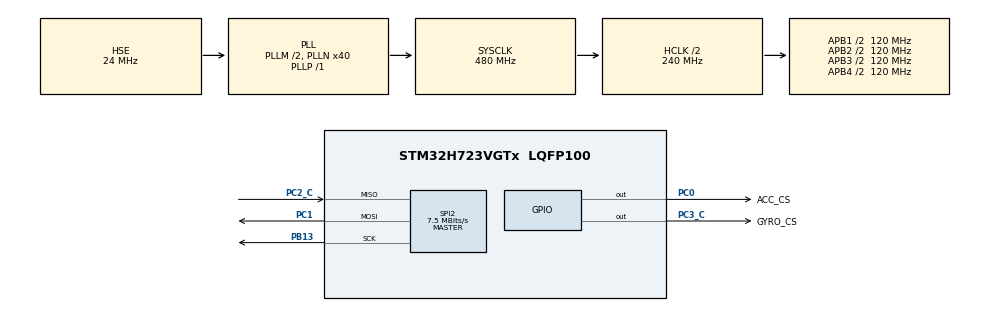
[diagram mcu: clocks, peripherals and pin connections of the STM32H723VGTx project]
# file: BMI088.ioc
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CORTEX_M7.default_mode_Activation=1
Mcu.Family=STM32H7
Mcu.Name=STM32H723VGTx
Mcu.Package=LQFP100
NVIC.PriorityGroup=NVIC_PRIORITYGROUP_4
PA13(JTMS/SWDIO).Mode=Serial_Wire
PA13(JTMS/SWDIO).Signal=DEBUG_JTMS-SWDIO
PA14(JTCK/SWCLK).Mode=Serial_Wire
PA14(JTCK/SWCLK).Signal=DEBUG_JTCK-SWCLK
PB13.Mode=Full_Duplex_Master
PB13.Signal=SPI2_SCK
PC0.GPIO_Label=ACC_CS
PC0.PinState=GPIO_PIN_SET
PC0.Signal=GPIO_Output
PC1.Mode=Full_Duplex_Master
PC1.Signal=SPI2_MOSI
PC2_C.Mode=Full_Duplex_Master
PC2_C.Signal=SPI2_MISO
PC3_C.GPIO_Label=GYRO_CS
PC3_C.Signal=GPIO_Output
PH0-OSC_IN.Mode=HSE-External-Oscillator
PH0-OSC_IN.Signal=RCC_OSC_IN
PH1-OSC_OUT.Mode=HSE-External-Oscillator
PH1-OSC_OUT.Signal=RCC_OSC_OUT
ProjectManager.HeapSize=0x200
ProjectManager.StackSize=0x400
ProjectManager.TargetToolchain=CMake
RCC.ADCFreq_Value=48375000
RCC.APB1Freq_Value=120000000
RCC.APB2Freq_Value=120000000
RCC.APB3Freq_Value=120000000
RCC.APB4Freq_Value=120000000
RCC.CortexFreq_Value=480000000
RCC.D1PPRE=RCC_APB3_DIV2
RCC.D2PPRE1=RCC_APB1_DIV2
RCC.D2PPRE2=RCC_APB2_DIV2
RCC.D3PPRE=RCC_APB4_DIV2
RCC.DIVM1=2
RCC.DIVN1=40
RCC.DIVP1=1
RCC.HCLKFreq_Value=240000000
RCC.HPRE=RCC_HCLK_DIV2
RCC.HSE_VALUE=24000000
RCC.PLLFRACN=0
RCC.PLLSourceVirtual=RCC_PLLSOURCE_HSE
RCC.SYSCLKFreq_VALUE=480000000
RCC.SYSCLKSource=RCC_SYSCLKSOURCE_PLLCLK
RCC.USBFreq_Value=240000000
SPI2.BaudRatePrescaler=SPI_BAUDRATEPRESCALER_32
SPI2.CLKPhase=SPI_PHASE_2EDGE
SPI2.CLKPolarity=SPI_POLARITY_HIGH
SPI2.CalculateBaudRate=7.5 MBits/s
SPI2.DataSize=SPI_DATASIZE_8BIT
SPI2.Direction=SPI_DIRECTION_2LINES
SPI2.Mode=SPI_MODE_MASTER
SPI2.VirtualType=VM_MASTER
VP_MEMORYMAP_VS_MEMORYMAP.Mode=CurAppReg
board=custom

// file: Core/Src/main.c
/* USER CODE BEGIN Header */
/**
  ******************************************************************************
  * @file           : main.c
  * @brief          : Main program body
  ******************************************************************************
  * @attention
  *
  * Copyright (c) 2025 STMicroelectronics.
  * All rights reserved.
  *
  * This software is licensed under terms that can be found in the LICENSE file
  * in the root directory of this software component.
  * If no LICENSE file comes with this software, it is provided AS-IS.
  *
  ******************************************************************************
  */
/* USER CODE END Header */
#include "main.h"
#include "memorymap.h"
#include "spi.h"
#include "gpio.h"

void SystemClock_Config(void);

static void MPU_Config(void);

/* USER CODE BEGIN 0 */
#define BMI088_ACCEL_6G_SEN 0.00179443359375f

float BMI088_ACCEL_SEN = BMI088_ACCEL_6G_SEN;

float accelerometer[3];

uint8_t i = 0;

uint8_t buf[6] = {0, 0, 0, 0, 0, 0};

uint8_t pTxData;

uint8_t pRxData;
/* USER CODE END 0 */

int main(void) {

    /* MPU Configuration--------------------------------------------------------*/
    MPU_Config();

    /* MCU Configuration--------------------------------------------------------*/

    /* Reset of all peripherals, Initializes the Flash interface and the Systick. */
    HAL_Init();

    /* Configure the system clock */
    SystemClock_Config();

    /* Initialize all configured peripherals */
    MX_GPIO_Init();
    MX_SPI2_Init();
    /* USER CODE BEGIN 2 */

    /** 向地址0x7E处写入0xB6值，加速度计软件复位，使加速度计各个寄存器恢复为默认值 **/
    // 1.ACC_CS引脚置低电平，片选加速度计
    HAL_GPIO_WritePin(ACC_CS_GPIO_Port, ACC_CS_Pin, GPIO_PIN_RESET);

    // 2.将加速度计0x7E寄存器配置为写操作（把0x7E最高位置0）
    pTxData = (0x7E & 0x7F);
    HAL_SPI_Transmit(&hspi2, &pTxData, 1, 1000);
    while (HAL_SPI_GetState(&hspi2) == HAL_SPI_STATE_BUSY_TX);// 等待SPI发送完成

    // 3.向加速度计0x7E寄存器写入0xB6，软件复位
    pTxData = 0xB6;
    HAL_SPI_Transmit(&hspi2, &pTxData, 1, 1000);
    while (HAL_SPI_GetState(&hspi2) == HAL_SPI_STATE_BUSY_TX);// 等待SPI发送完成

    //等待软件复位完成
    HAL_Delay(1);

    // 4.ACC_CS引脚置高电平，取消片选加速度计
    HAL_GPIO_WritePin(ACC_CS_GPIO_Port, ACC_CS_Pin, GPIO_PIN_SET);

    /** 加速度计复位后默认是暂停模式，向加速度计0x7D寄存器写入0x04，使加速度计进入正常模式 **/
    // 1.ACC_CS引脚置低电平，片选加速度计
    HAL_GPIO_WritePin(ACC_CS_GPIO_Port, ACC_CS_Pin, GPIO_PIN_RESET);

    // 2.将加速度计0x7D寄存器配置为写操作（把0x7D最高位置0）
    pTxData = (0x7D & 0x7F);
    HAL_SPI_Transmit(&hspi2, &pTxData, 1, 1000);
    while (HAL_SPI_GetState(&hspi2) == HAL_SPI_STATE_BUSY_TX);// 等待SPI发送完成

    // 3.向加速度计0x7D寄存器写入0x04，使加速度计进入正常模式
    pTxData = 0x04;
    HAL_SPI_Transmit(&hspi2, &pTxData, 1, 1000);
    while (HAL_SPI_GetState(&hspi2) == HAL_SPI_STATE_BUSY_TX);    //等待SPI发送完成

    // 等待配置完成
    HAL_Delay(1);

    // 4.ACC_CS引脚置高电平，取消片选加速度计
    HAL_GPIO_WritePin(ACC_CS_GPIO_Port, ACC_CS_Pin, GPIO_PIN_SET);

    /* USER CODE END 2 */

    /* Infinite loop */
    while (1) {

        /* USER CODE BEGIN 3 */
        /** 1.ACC_CS引脚置低电平，片选加速度计 **/
        HAL_GPIO_WritePin(ACC_CS_GPIO_Port, ACC_CS_Pin, GPIO_PIN_RESET);

        /** 2.将加速度计0x12寄存器配置为读操作（把0x12最高位置1）**/
        pTxData = (0x12 | 0x80);
        HAL_SPI_Transmit(&hspi2, &pTxData, 1, 1000);
        while (HAL_SPI_GetState(&hspi2) == HAL_SPI_STATE_BUSY_TX);// 等待SPI发送完成

        /** 3.接收加速度计0x12 ~ 0x17寄存器的值 **/
        // （1）无效值
        HAL_SPI_Receive(&hspi2, &pRxData, 1, 1000);
        while (HAL_SPI_GetState(&hspi2) == HAL_SPI_STATE_BUSY_RX);    //等待SPI接收完成

        // （2）接收加速度计0x12 ~ 0x17寄存器的值
        i = 0;
        while (i < 6) {
            HAL_SPI_Receive(&hspi2, &pRxData, 1, 1000);    //Bit #16-23，寄存器0x12的值，然后是寄存器0x13、0x14、0x15、0x16、0x17的值
            while (HAL_SPI_GetState(&hspi2) == HAL_SPI_STATE_BUSY_RX);    //等待SPI接收完成
            buf[i] = pRxData;
            i++;
        }
        HAL_GPIO_WritePin(ACC_CS_GPIO_Port, ACC_CS_Pin, GPIO_PIN_SET);    //PA4置1，取消片选加速度计
        accelerometer[0] = ((int16_t) ((buf[1]) << 8) | buf[0]) * BMI088_ACCEL_SEN;
        accelerometer[1] = ((int16_t) ((buf[3]) << 8) | buf[2]) * BMI088_ACCEL_SEN;
        accelerometer[2] = ((int16_t) ((buf[5]) << 8) | buf[4]) * BMI088_ACCEL_SEN;
    }
    /* USER CODE END 3 */
}

void SystemClock_Config(void) {
    RCC_OscInitTypeDef RCC_OscInitStruct = {0};
    RCC_ClkInitTypeDef RCC_ClkInitStruct = {0};

    /** Supply configuration update enable
    */
    HAL_PWREx_ConfigSupply(PWR_LDO_SUPPLY);

    /** Configure the main internal regulator output voltage
    */
    __HAL_PWR_VOLTAGESCALING_CONFIG(PWR_REGULATOR_VOLTAGE_SCALE0);

    while (!__HAL_PWR_GET_FLAG(PWR_FLAG_VOSRDY)) {}

    /** Initializes the RCC Oscillators according to the specified parameters
    * in the RCC_OscInitTypeDef structure.
    */
    RCC_OscInitStruct.OscillatorType = RCC_OSCILLATORTYPE_HSE;
    RCC_OscInitStruct.HSEState = RCC_HSE_ON;
    RCC_OscInitStruct.PLL.PLLState = RCC_PLL_ON;
    RCC_OscInitStruct.PLL.PLLSource = RCC_PLLSOURCE_HSE;
    RCC_OscInitStruct.PLL.PLLM = 2;
    RCC_OscInitStruct.PLL.PLLN = 40;
    RCC_OscInitStruct.PLL.PLLP = 1;
    RCC_OscInitStruct.PLL.PLLQ = 2;
    RCC_OscInitStruct.PLL.PLLR = 2;
    RCC_OscInitStruct.PLL.PLLRGE = RCC_PLL1VCIRANGE_3;
    RCC_OscInitStruct.PLL.PLLVCOSEL = RCC_PLL1VCOWIDE;
    RCC_OscInitStruct.PLL.PLLFRACN = 0;
    if (HAL_RCC_OscConfig(&RCC_OscInitStruct) != HAL_OK) {
        Error_Handler();
    }

    /** Initializes the CPU, AHB and APB buses clocks
    */
    RCC_ClkInitStruct.ClockType = RCC_CLOCKTYPE_HCLK | RCC_CLOCKTYPE_SYSCLK
                                  | RCC_CLOCKTYPE_PCLK1 | RCC_CLOCKTYPE_PCLK2
                                  | RCC_CLOCKTYPE_D3PCLK1 | RCC_CLOCKTYPE_D1PCLK1;
    RCC_ClkInitStruct.SYSCLKSource = RCC_SYSCLKSOURCE_PLLCLK;
    RCC_ClkInitStruct.SYSCLKDivider = RCC_SYSCLK_DIV1;
    RCC_ClkInitStruct.AHBCLKDivider = RCC_HCLK_DIV2;
    RCC_ClkInitStruct.APB3CLKDivider = RCC_APB3_DIV2;
    RCC_ClkInitStruct.APB1CLKDivider = RCC_APB1_DIV2;
    RCC_ClkInitStruct.APB2CLKDivider = RCC_APB2_DIV2;
    RCC_ClkInitStruct.APB4CLKDivider = RCC_APB4_DIV2;

    if (HAL_RCC_ClockConfig(&RCC_ClkInitStruct, FLASH_LATENCY_3) != HAL_OK) {
        Error_Handler();
    }
}

/* MPU Configuration */

void MPU_Config(void) {
    MPU_Region_InitTypeDef MPU_InitStruct = {0};

    /* Disables the MPU */
    HAL_MPU_Disable();

    /** Initializes and configures the Region and the memory to be protected
    */
    MPU_InitStruct.Enable = MPU_REGION_ENABLE;
    MPU_InitStruct.Number = MPU_REGION_NUMBER0;
    MPU_InitStruct.BaseAddress = 0x0;
    MPU_InitStruct.Size = MPU_REGION_SIZE_4GB;
    MPU_InitStruct.SubRegionDisable = 0x87;
    MPU_InitStruct.TypeExtField = MPU_TEX_LEVEL0;
    MPU_InitStruct.AccessPermission = MPU_REGION_NO_ACCESS;
    MPU_InitStruct.DisableExec = MPU_INSTRUCTION_ACCESS_DISABLE;
    MPU_InitStruct.IsShareable = MPU_ACCESS_SHAREABLE;
    MPU_InitStruct.IsCacheable = MPU_ACCESS_NOT_CACHEABLE;
    MPU_InitStruct.IsBufferable = MPU_ACCESS_NOT_BUFFERABLE;

    HAL_MPU_ConfigRegion(&MPU_InitStruct);
    /* Enables the MPU */
    HAL_MPU_Enable(MPU_PRIVILEGED_DEFAULT);

}

void Error_Handler(void) {
    __disable_irq();
    while (1) {
    }
}
